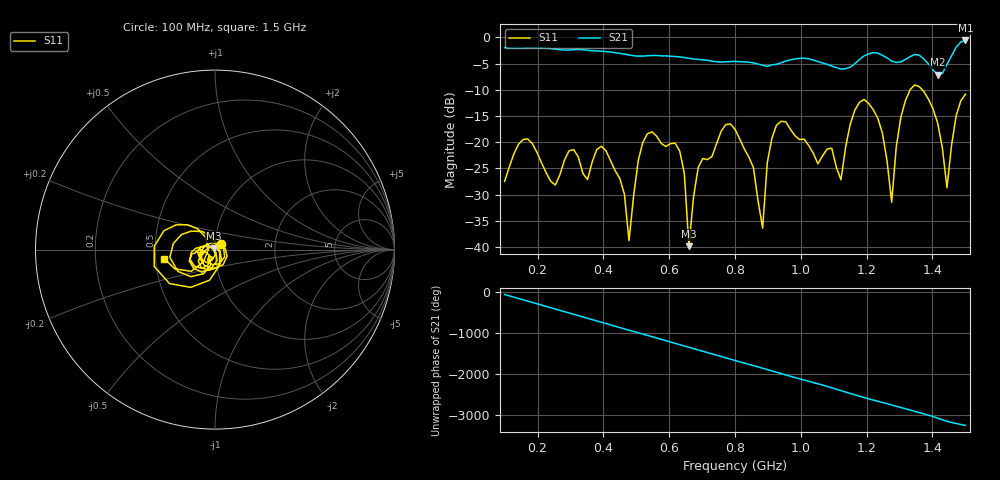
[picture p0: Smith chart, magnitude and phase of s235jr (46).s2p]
! NanoVNA-App
! Date: 2025-09-25 15:04:31
! Start: 100MHz Stop: 1,5GHz Points: 101
! S-Parameter data: F S11 S21 S12 S22
# Hz S RI R 50
!  Frequency  S11_Real  S11_Imag  S21_Real  S21_Imag  S12_Real  S12_Imag  S22_Real  S22_Imag
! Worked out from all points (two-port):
!   101 points, 100 MHz to 1.5 GHz, reference 50 ohm
!   highest |S21| = -0.60 dB at 1.5 GHz (marker M1); lowest = -7.1 dB at 1.416 GHz (marker M2)
!   |S21| within 3 dB of the highest: start of sweep to 601.7 MHz; 1.191 GHz to 1.252 GHz (61.36 MHz wide, 5.02 % of centre) (the widest 2 of 4)
!   lowest |S11| = -39.8 dB at 660 MHz (marker M3), VSWR 1.02, Z = 49.2 + j0.676 ohm
!   |S11| at or under -10 dB: start of sweep to 1.332 GHz; 1.369 GHz to end of sweep
!   S12 and S22 are empty: the file has one direction only
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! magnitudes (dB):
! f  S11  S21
! 100 MHz  -27.5  -2.0
! 170 MHz  -19.4  -2.0
! 338 MHz  -26.0  -2.4
! 408 MHz  -21.6  -2.7
! 478 MHz  -38.8  -3.4
! 520 MHz  -20.0  -3.6
! 576 MHz  -20.3  -3.5
! 632 MHz  -21.7  -3.7
! 660 MHz  -39.8  -4.0
! 688 MHz  -24.9  -4.2
! 800 MHz  -17.5  -4.6
! 884 MHz  -36.4  -5.4
! 926 MHz  -16.8  -5.1
! 1.038 GHz  -22.1  -4.3
! 1.122 GHz  -27.2  -6.1
! 1.192 GHz  -11.9  -3.6
! 1.248 GHz  -18.3  -3.5
! 1.276 GHz  -31.5  -4.5
! 1.332 GHz  -10.0  -3.7
! 1.416 GHz  -16.4  -7.1
! 1.444 GHz  -28.7  -5.2
! 1.5 GHz  -10.9  -0.6
